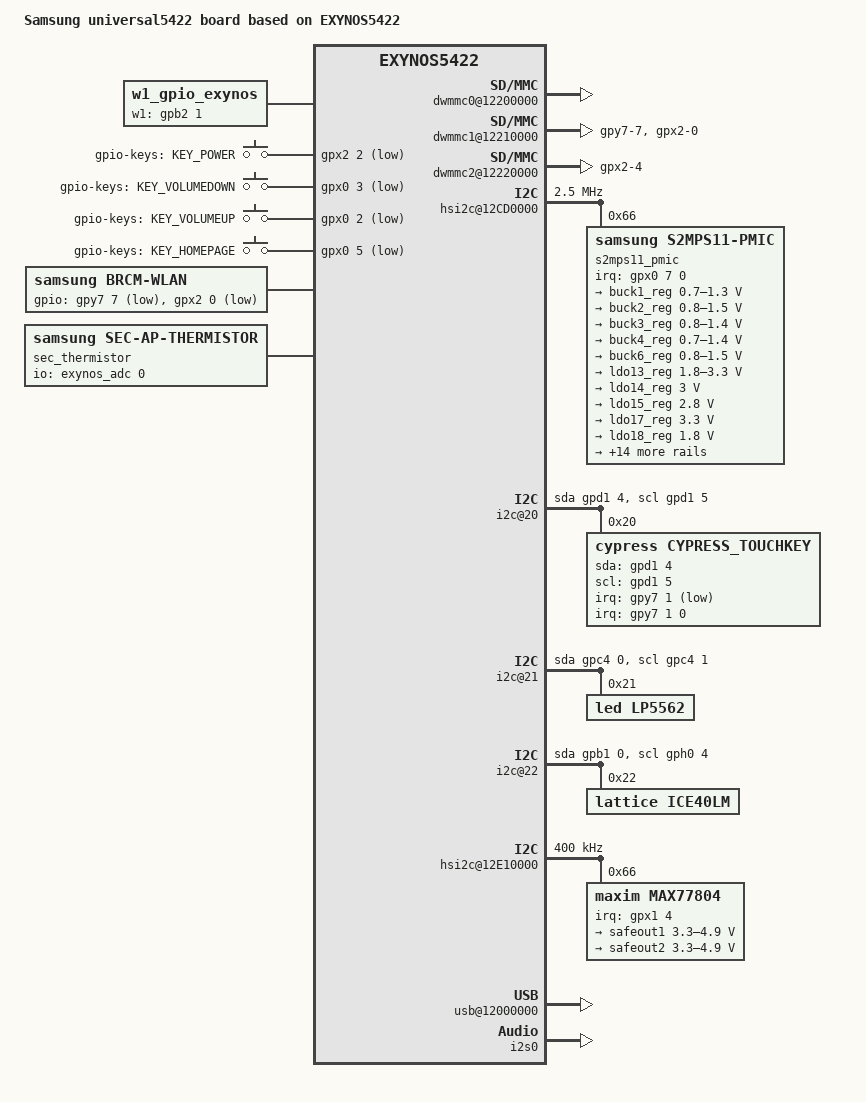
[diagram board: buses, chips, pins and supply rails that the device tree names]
/*
 * SAMSUNG universal5422 board device tree source
 *
 * Copyright (c) 2013 Samsung Electronics Co., Ltd.
 *             http://www.samsung.com
 *
 * This program is free software; you can redistribute it and/or modify
 * it under the terms of the GNU General Public License version 2 as
 * published by the Free Software Foundation.
*/

#include "exynos5422.dtsi"
#include "exynos5422-k_mhl2x.dtsi"

#define PIN_PULL_NONE		0
#define PIN_PULL_DOWN		1
#define PIN_PULL_UP		3

#define PIN_DRV_LV1		0
#define PIN_DRV_LV2		2
#define PIN_DRV_LV3		1
#define PIN_DRV_LV4		3

#define PIN_PDN_OUT0		0
#define PIN_PDN_OUT1		1
#define PIN_PDN_INPUT		2
#define PIN_PDN_PREV		3

#define PIN_IN(_pin, _pull, _drv)			\
	_pin {						\
		samsung,pins = #_pin;			\
		samsung,pin-function = <0>;		\
		samsung,pin-pud = <PIN_PULL_ ##_pull>;	\
		samsung,pin-drv = <PIN_DRV_ ##_drv>;	\
	}

#define PIN_OUT(_pin, _drv)				\
	_pin {						\
		samsung,pins = #_pin;			\
		samsung,pin-function = <1>;		\
		samsung,pin-pud = <0>;			\
		samsung,pin-drv = <PIN_DRV_ ##_drv>;	\
	}

#define PIN_OUT_SET(_pin, _val, _drv)			\
	_pin {						\
		samsung,pins = #_pin;			\
		samsung,pin-function = <1>;		\
		samsung,pin-pud = <0>;			\
		samsung,pin-drv = <PIN_DRV_ ##_drv>;	\
		samsung,pin-val	= <_val>;		\
	}

#define PIN_SLP(_pin, _mode, _pull)				\
	_pin {							\
		samsung,pins = #_pin;				\
		samsung,pin-con-pdn = <PIN_PDN_ ##_mode>;	\
		samsung,pin-pud-pdn = <PIN_PULL_ ##_pull>;	\
	}

/ {
	model = "Samsung universal5422 board based on EXYNOS5422";
	compatible = "samsung,universal5422", "samsung,exynos5422";

	chosen {
		bootargs = "console=ttySAC2,115200 vmalloc=512M noexec=on";
	};

	fixed-rate-clocks {
		oscclk {
			compatible = "samsung,exynos5422-oscclk";
			clock-frequency = <24000000>;
		};
	};

	rtc {
		status = "okay";
	};

	pinctrl@13410000 {
		pinctrl-names = "sleep";
		pinctrl-0 = <&sleep1>;
		sleep1: sleep-state {
				PIN_SLP(gpc0-0, PREV, NONE);	/* NAND_CLK */
				PIN_SLP(gpc0-1, PREV, NONE);	/* NAND_CMD */
				PIN_SLP(gpc0-2, PREV, NONE);	/* eMMC_EN */
				PIN_SLP(gpc0-3, PREV, NONE);	/* NAND_D(0) */
				PIN_SLP(gpc0-4, PREV, NONE);	/* NAND_D(1) */
				PIN_SLP(gpc0-5, PREV, NONE);	/* NAND_D(2) */
				PIN_SLP(gpc0-6, PREV, NONE);	/* NAND_D(3) */
				PIN_SLP(gpc0-7, PREV, NONE);	/* EMMC_RCLK */

				PIN_SLP(gpc1-0, OUT0, NONE);	/* WLAN_SDIO_CLK */
				PIN_SLP(gpc1-1, INPUT, NONE);	/* WLAN_SDIO_CMD */
				PIN_SLP(gpc1-2, INPUT, DOWN);	/* NC */
				PIN_SLP(gpc1-3, INPUT, NONE);	/* WLAN_SDIO_D(0) */
				PIN_SLP(gpc1-4, INPUT, NONE);	/* WLAN_SDIO_D(1) */
				PIN_SLP(gpc1-5, INPUT, NONE);	/* WLAN_SDIO_D(2) */
				PIN_SLP(gpc1-6, INPUT, NONE);	/* WLAN_SDIO_D(3) */
				PIN_SLP(gpc1-7, INPUT, DOWN);	/* NC */

				PIN_SLP(gpc2-0, INPUT, DOWN);	/* T_FLASH_CLK */
				PIN_SLP(gpc2-1, INPUT, DOWN);	/* T_FLASH_CMD */
				PIN_SLP(gpc2-2, INPUT, DOWN);	/* NC */
				PIN_SLP(gpc2-3, INPUT, DOWN);	/* T_FLASH_D(0) */
				PIN_SLP(gpc2-4, INPUT, DOWN);	/* T_FLASH_D(1) */
				PIN_SLP(gpc2-5, INPUT, DOWN);	/* T_FLASH_D(2) */
				PIN_SLP(gpc2-6, INPUT, DOWN);	/* T_FLASH_D(3) */

				PIN_SLP(gpc3-0, PREV, NONE);	/* NAND_D(4) */
				PIN_SLP(gpc3-1, PREV, NONE);	/* NAND_D(5) */
				PIN_SLP(gpc3-2, PREV, NONE);	/* NAND_D(6) */
				PIN_SLP(gpc3-3, PREV, NONE);	/* NAND_D(7) */

				PIN_SLP(gpc4-0, INPUT, NONE);	/* SVC_I2C_SDA */
				PIN_SLP(gpc4-1, INPUT, NONE);	/* SVC_I2C_SCL */

				PIN_SLP(gpd1-0, OUT0, NONE);	/* COMPANION_RSTN */
				PIN_SLP(gpd1-1, OUT0, NONE);	/* BTP_SLEEP/RST_N */
				PIN_SLP(gpd1-2, OUT0, NONE);	/* VT_CAM_1.2V_EN */
				PIN_SLP(gpd1-3, INPUT, DOWN);	/* OCTA_ID */
				PIN_SLP(gpd1-4, INPUT, DOWN);	/* TOUCH_I2C_SDA */
				PIN_SLP(gpd1-5, INPUT, DOWN);	/* TOUCH_I2C_SCL */
				PIN_SLP(gpd1-6, OUT0, NONE);	/* MAIN_CAM_A2.8V_EN */
				PIN_SLP(gpd1-7, INPUT, DOWN);	/* LCD_TE */

				PIN_SLP(gpy0-0, INPUT, DOWN);	/* NC */
				PIN_SLP(gpy0-1, INPUT, DOWN);	/* NC */
				PIN_SLP(gpy0-2, INPUT, DOWN);	/* NC */
				PIN_SLP(gpy0-3, INPUT, DOWN);	/* NC */
				PIN_SLP(gpy0-4, INPUT, DOWN);	/* NC */
				PIN_SLP(gpy0-5, INPUT, DOWN);	/* NC */

				PIN_SLP(gpy1-0, INPUT, DOWN);	/* NC */
				PIN_SLP(gpy1-1, INPUT, DOWN);	/* NC */
				PIN_SLP(gpy1-2, INPUT, DOWN);	/* NC */
				PIN_SLP(gpy1-3, INPUT, DOWN);	/* NC */

				PIN_SLP(gpy2-0, PREV, NONE);	/* TF_EN */
				PIN_SLP(gpy2-1, INPUT, DOWN);	/* NC */
				PIN_SLP(gpy2-2, INPUT, DOWN);	/* NC */
				PIN_SLP(gpy2-3, INPUT, DOWN);	/* NC */
				PIN_SLP(gpy2-4, INPUT, DOWN);	/* NC */
				PIN_SLP(gpy2-5, INPUT, DOWN);	/* NC */

				PIN_SLP(gpy3-0, PREV, NONE);	/* MMC01_EN */
				PIN_SLP(gpy3-1, PREV, NONE);	/* MMC2_EN */
				PIN_SLP(gpy3-2, OUT0, NONE);	/* MIPI_1.8V_EN */
				PIN_SLP(gpy3-3, PREV, NONE);	/* CODEC_POWER_EN */
				PIN_SLP(gpy3-4, INPUT, NONE);	/* SIM_SLOT */
				PIN_SLP(gpy3-5, INPUT, DOWN);	/* NC */
				PIN_SLP(gpy3-6, INPUT, DOWN);	/* NC */
				PIN_SLP(gpy3-7, INPUT, DOWN);	/* NC */

				PIN_SLP(gpy4-0, INPUT, DOWN);	/* NC */
				PIN_SLP(gpy4-1, INPUT, DOWN);	/* NC */
				PIN_SLP(gpy4-2, INPUT, DOWN);	/* NC */
				PIN_SLP(gpy4-3, INPUT, DOWN);	/* NC */
				PIN_SLP(gpy4-4, INPUT, DOWN);	/* NC */
				PIN_SLP(gpy4-5, INPUT, DOWN);	/* NC */
				PIN_SLP(gpy4-6, INPUT, DOWN);	/* NC */
				PIN_SLP(gpy4-7, INPUT, DOWN);	/* NC */

				PIN_SLP(gpy5-0, INPUT, DOWN);	/* NC */
				PIN_SLP(gpy5-1, INPUT, DOWN);	/* NC */
				PIN_SLP(gpy5-2, INPUT, DOWN);	/* NC */
				PIN_SLP(gpy5-3, INPUT, DOWN);	/* NC */
				PIN_SLP(gpy5-4, INPUT, DOWN);	/* NC */
				PIN_SLP(gpy5-5, INPUT, DOWN);	/* NC */
				PIN_SLP(gpy5-6, INPUT, DOWN);	/* NC */
				PIN_SLP(gpy5-7, INPUT, DOWN);	/* NC */

				PIN_SLP(gpy6-0, INPUT, DOWN);	/* NC */
				PIN_SLP(gpy6-1, INPUT, DOWN);	/* NC */
				PIN_SLP(gpy6-2, INPUT, DOWN);	/* NC */
				PIN_SLP(gpy6-3, INPUT, DOWN);	/* NC */
				PIN_SLP(gpy6-4, INPUT, DOWN);	/* NC */
				PIN_SLP(gpy6-5, INPUT, DOWN);	/* NC */
				PIN_SLP(gpy6-6, INPUT, DOWN);	/* NC */
				PIN_SLP(gpy6-7, INPUT, DOWN);	/* NC */
		};
	};

	pinctrl@14000000 {
		pinctrl-names = "sleep";
		pinctrl-0 = <&sleep2>;
		sleep2: sleep-state {
				PIN_SLP(gpe0-0, OUT0, NONE);	/* VT_CAM_STBY */
				PIN_SLP(gpe0-1, PREV, NONE);	/* FLASH_LED_EN */
				PIN_SLP(gpe0-2, PREV, NONE);	/* FLASH_LED_SET */
				PIN_SLP(gpe0-3, OUT0, NONE);	/* VT_CAM_NRST */
				PIN_SLP(gpe0-4, OUT0, NONE);	/* MAIN_CAM_RST */
				PIN_SLP(gpe0-5, OUT0, NONE);	/* COMP_EN */
				PIN_SLP(gpe0-6, INPUT, DOWN);	/* MAIN_CAM_SPI_CSN_GP */
				PIN_SLP(gpe0-7, INPUT, DOWN);	/* NC */

				PIN_SLP(gpe1-0, INPUT, DOWN);	/* COMP_SPI_INT */
				PIN_SLP(gpe1-1, INPUT, DOWN);	/* NC */

				PIN_SLP(gpf0-0, INPUT, DOWN);	/* MAIN_CAM_SDA */
				PIN_SLP(gpf0-1, INPUT, DOWN);	/* MAIN_CAM_SCL */
				PIN_SLP(gpf0-2, INPUT, DOWN);	/* AF_SDA */
				PIN_SLP(gpf0-3, INPUT, DOWN);	/* AF_SCL */
				PIN_SLP(gpf0-4, INPUT, DOWN);	/* VT_CAM_SDA */
				PIN_SLP(gpf0-5, INPUT, DOWN);	/* VT_CAM_SCL */

				PIN_SLP(gpf1-0, INPUT, DOWN);	/* MAIN_CAM_SPI_SCLK */
				PIN_SLP(gpf1-1, INPUT, DOWN);	/* MAIN_CAM_SPI_SSN */
				PIN_SLP(gpf1-2, INPUT, DOWN);	/* MAIN_CAM_SPI_MISO */
				PIN_SLP(gpf1-3, INPUT, DOWN);	/* MAIN_CAM_SPI_MOSI */
				PIN_SLP(gpf1-4, INPUT, DOWN);	/* NC */
				PIN_SLP(gpf1-5, INPUT, DOWN);	/* NC */
				PIN_SLP(gpf1-6, INPUT, DOWN);	/* NC */
				PIN_SLP(gpf1-7, INPUT, DOWN);	/* NC */

				PIN_SLP(gpg0-0, OUT1, NONE);	/* MCU_nRST_1.8V */
				PIN_SLP(gpg0-1, PREV, NONE);	/* CODEC_LDO_EN */
				PIN_SLP(gpg0-2, PREV, NONE);	/* CDONE */
				PIN_SLP(gpg0-3, INPUT, DOWN);	/* MHL_INT */
				PIN_SLP(gpg0-4, INPUT, DOWN);	/* COMP_BUCK_I2C_SCL */
				PIN_SLP(gpg0-5, INPUT, DOWN);	/* COMP_BUCK_I2C_SDA */
				PIN_SLP(gpg0-6, INPUT, DOWN);	/* PCD_INT */
				PIN_SLP(gpg0-7, PREV, DOWN);	/* BT_EN */

				PIN_SLP(gpg1-0, PREV, NONE);	/* IPC_SLAVE_WAKEUP */
				PIN_SLP(gpg1-1, PREV, UP);	/* NFC_FIRMWARE */
				PIN_SLP(gpg1-2, PREV, NONE);	/* NFC_EN */
				PIN_SLP(gpg1-3, OUT0, NONE);	/* SUSPEND_REQUEST_HSIC */
				PIN_SLP(gpg1-4, PREV, NONE);	/* CP_ON */
				PIN_SLP(gpg1-5, INPUT, DOWN);	/* TSP_ID */
				PIN_SLP(gpg1-6, PREV, NONE);	/* AP_DUMP_INT */
				PIN_SLP(gpg1-7, INPUT, DOWN);	/* ACTIVE_STATE_HSIC */

				PIN_SLP(gpg2-0, PREV, NONE);	/* CODEC_RESET_N */
				PIN_SLP(gpg2-1, PREV, NONE);	/* CORE_MODE */

				PIN_SLP(gpj4-0, INPUT, DOWN);	/* LCD_TE */
				PIN_SLP(gpj4-1, OUT1, NONE);	/* RESET_REQ_N */
				PIN_SLP(gpj4-2, OUT1, NONE);	/* CRESET_B */
				PIN_SLP(gpj4-3, OUT1, NONE);	/* MHL_RST */
		};
	};

	pinctrl@14010000 {
		pinctrl-names = "sleep";
		pinctrl-0 = <&sleep3>;
		sleep3: sleep-state {
				PIN_SLP(gpa0-0, INPUT, UP);	/* BT_UART_RXD */
				PIN_SLP(gpa0-1, OUT1, UP);	/* BT_UART_TXD */
				PIN_SLP(gpa0-2, INPUT, UP);	/* BT_UART_CTS */
				PIN_SLP(gpa0-3, OUT1, UP);	/* BT_UART_RTS */
				PIN_SLP(gpa0-4, INPUT, UP);	/* GPS_UART_RXD */
				PIN_SLP(gpa0-5, INPUT, UP);	/* GPS_UART_TXD */
				PIN_SLP(gpa0-6, INPUT, DOWN);	/* GPS_UART_CTS */
				PIN_SLP(gpa0-7, OUT1, NONE);	/* GPS_UART_RTS */

				PIN_SLP(gpa1-0, INPUT, DOWN);	/* AP_RXD */
				PIN_SLP(gpa1-1, INPUT, DOWN);	/* AP_TXD */
				PIN_SLP(gpa1-2, INPUT, NONE);	/* NFC_SDA_1.8V */
				PIN_SLP(gpa1-3, INPUT, NONE);	/* NFC_SCL_1.8V */
				PIN_SLP(gpa1-4, INPUT, NONE);	/* HEALTH_UART_RXD */
				PIN_SLP(gpa1-5, INPUT, NONE);	/* HEALTH_UART_TXD */

				PIN_SLP(gpa2-0, OUT0, NONE);	/* SHUB_SPI_SCK */
				PIN_SLP(gpa2-1, OUT0, NONE);	/* SHUB_SPI_SSN */
				PIN_SLP(gpa2-2, INPUT, DOWN);	/* SHUB_SPI_MISO */
				PIN_SLP(gpa2-3, OUT0, NONE);	/* SHUB_SPI_MOSI */
				PIN_SLP(gpa2-4, OUT0, NONE);	/* BTP_SPI_CLK */
				PIN_SLP(gpa2-5, OUT0, NONE);	/* BTP_SPI_CS_N */
				PIN_SLP(gpa2-6, INPUT, DOWN);	/* BTP_SPI_MISO */
				PIN_SLP(gpa2-7, OUT0, NONE);	/* BTP_SPI_MOSI */

				PIN_SLP(gpb0-0, PREV, NONE);	/* LCD_1P5_EN */
				PIN_SLP(gpb0-1, OUT0, NONE);	/* ERR_FG */
				PIN_SLP(gpb0-2, OUT0, NONE);	/* HEALTH_EN */
				PIN_SLP(gpb0-3, INPUT, NONE);	/* FUEL_SDA_1.8V */
				PIN_SLP(gpb0-4, INPUT, NONE);	/* FUEL_SCL_1.8V */

				PIN_SLP(gpb1-0, INPUT, NONE);	/* FPGA_SPI_SI */
				PIN_SLP(gpb1-1, OUT0, NONE);	/* CODEC_SPI_SCK */
				PIN_SLP(gpb1-2, OUT0, NONE);	/* CODEC_SPI_SSN */
				PIN_SLP(gpb1-3, INPUT, DOWN);	/* CODEC_SPI_MISO */
				PIN_SLP(gpb1-4, OUT0, NONE);	/* CODEC_SPI_MOSI */

				PIN_SLP(gpb2-0, OUT0, NONE);	/* VIBTONE_PWM */
				PIN_SLP(gpb2-1, INPUT, NONE);	/* COVER_ID */
				PIN_SLP(gpb2-2, INPUT, NONE);	/* AP_PMIC_SDA */
				PIN_SLP(gpb2-3, INPUT, NONE);	/* AP_PMIC_SCL */

				PIN_SLP(gpb3-0, INPUT, DOWN);	/* TS_I2C_SDA */
				PIN_SLP(gpb3-1, INPUT, DOWN);	/* TS_I2C_SCL */
				PIN_SLP(gpb3-2, INPUT, DOWN);	/* VT_CAM_SDA */
				PIN_SLP(gpb3-3, INPUT, DOWN);	/* VT_CAM_SCL */
				PIN_SLP(gpb3-4, INPUT, NONE);	/* MEM_LDO_SCL */
				PIN_SLP(gpb3-5, INPUT, NONE);	/* MEM_LDO_SDA */
				PIN_SLP(gpb3-6, INPUT, NONE);	/* IF_PMIC_SDA */
				PIN_SLP(gpb3-7, INPUT, NONE);	/* IF_PMIC_SCL */

				PIN_SLP(gpb4-0, INPUT, DOWN);	/* MHL_SDA_1.8V */
				PIN_SLP(gpb4-1, INPUT, DOWN);	/* MHL_SCL_1.8V */

				PIN_SLP(gph0-0, INPUT, NONE);	/* HW_REV0 */
				PIN_SLP(gph0-1, INPUT, NONE);	/* HW_REV1 */
				PIN_SLP(gph0-2, INPUT, NONE);	/* HW_REV2 */
				PIN_SLP(gph0-3, INPUT, NONE);	/* HW_REV3 */
				PIN_SLP(gph0-4, INPUT, NONE);	/* FPGA_SPI_CLK */
				PIN_SLP(gph0-5, OUT0, NONE);	/* MAIN_CAM_MCLK */
				PIN_SLP(gph0-6, OUT0, NONE);	/* 24MHZ_CLK_OUTPUT */
				PIN_SLP(gph0-7, OUT0, NONE);	/* VT_CAM_MCLK */
		};
	};

	dwmmc0@12200000 {
		status = "okay";
		num-slots = <1>;
		broken-cd;
		bypass-smu;
		fixed_volt;
		only_once_tune;
		supports-highspeed;
		supports-hs200-mode;
		sw_data_timeout;
		enable-no-sleep-cmd;
		fifo-depth = <0x40>;
		card-detect-delay = <200>;
		qos_int_level = <200000>;
		samsung,dw-mshc-ciu-div = <3>;
		samsung,dw-mshc-sdr-timing = <0 4 3>;
		samsung,dw-mshc-ddr-timing = <0 2 3>;
		samsung,dw-mshc-hs200-timing = <0 2 3>;
		samsung,dw-mshc-ddr200-timing = <0 2 1>;
		clk_pin = "gpc0-0";
		clk_addr = "13410000.pinctrl";
		clk_val = <0x3>;
		clk_str_num = <4>;
		num-ref-clks = <8>;
		ciu_clkin = <20812500 41625000 41625000 83250000 166500000 83250000 166500000 333000000>;
		pinctrl-names = "default";
		pinctrl-0 = <&sd0_clk &sd0_cmd &sd0_rdqs &sd0_bus1 &sd0_bus4 &sd0_bus8>;

		slot@0 {
			reg = <0>;
			bus-width = <8>;
		};
	};

	dwmmc1@12210000 {
		status = "okay";
		num-slots = <1>;
		channel = <1>;
		bypass-smu;
		ignore-phase = <(1 << 7)>;
		sw-timeout = <1000>;
		fixed_volt;
		supports-highspeed;
		sw_data_timeout;
		supports-sdr104-mode;
		keep-power-in-suspend;
		pm-ignore-notify;
		cd-type-external;
		cd-type = <2>;
		use-broken-voltage;
		fifo-depth = <0x40>;
		card-detect-delay = <200>;
		qos_int_level = <200000>;
		samsung,dw-mshc-ciu-div = <3>;
		samsung,dw-mshc-sdr-timing = <2 3 3>;
		samsung,dw-mshc-ddr-timing = <1 2 3>;
		clk_pin = "gpc1-0";
		clk_addr = "13410000.pinctrl";
		clk_val = <0x3>;
		clk_str_num = <4>;
		num-ref-clks = <8>;
		ciu_clkin = <20812500 41625000 41625000 83250000 166500000 83250000 166500000 333000000>;
		tp_mon_depth = <3>;
			     /* Byte/s,	 MIF clk, CPU clk, KFC clk*/
		tp_mon_table = <18000000 825000	1500000 1500000
				12000000 413000	0	0
				0	 0	0	0>;
		pinctrl-names = "default";
		//pinctrl-0 = <&sd1_clk &sd1_cmd &sd1_bus1 &sd1_bus4>;
		pinctrl-0 = <&sd1_clk &sd1_cmd &sd1_bus1 &sd1_bus4 &cfg_wlanen &cfg_wlanhostwake>; /* Set WLAN_EN configuration of power down mode */

		slot@0 {
			reg = <0>;
			bus-width = <4>;
		};
	};


	dwmmc2@12220000 {
		status = "okay";
		num-slots = <1>;
		supports-highspeed;
		sw_data_timeout;
		fifo-depth = <0x40>;
		card-detect-delay = <200>;
		qos_int_level = <200000>;
		samsung,dw-mshc-ciu-div = <3>;
		samsung,dw-mshc-sdr-timing = <2 3 3>;
		samsung,dw-mshc-ddr-timing = <1 2 3>;
		clk_pin = "gpc2-0";
		clk_addr = "13410000.pinctrl";
		clk_val = <0x3>;
		clk_str_num = <4>;
		num-ref-clks = <8>;
		ciu_clkin = <20812500 41625000 41625000 83250000 166500000 83250000 166500000 333000000>;
		pinctrl-names = "default";
		pinctrl-0 = <&sd2_clk &sd2_cmd &sd2_cd &sd2_bus1 &sd2_bus4 &dwmmc2_cd_irq>;

		gpio-controller;
		#gpio-cells = <2>;
		cd-gpio = <&gpx2 4 0xf>;

		slot@0 {
			reg = <0>;
			bus-width = <4>;
			disable-wp;
		};
	};

	serial@12C00000 {
		samsung,uart-wake-peer;
	};

	pinctrl@13400000 {
		pmic_irq: pmic-irq {
			samsung,pins = "gpx0-7";
			samsung,pin-pud = <3>;
			samsung,pin-drv = <3>;
		};

		hall_irq: hall-irq {
			samsung,pins = "gpx0-1";
			samsung,pin-function = <0xf>;
			samsung,pin-pud = <0>;
			samsung,pin-drv = <0>;
		};

		mfd_irq: mfd-irq {
			samsung,pins = "gpx1-4";
			samsung,pin-function = <0>;
			samsung,pin-pud = <0>;
			samsung,pin-drv = <0>;
		};

		fuel_irq: fuel-irq {
			samsung,pins = "gpx1-5";
			samsung,pin-function = <0>;
			samsung,pin-pud = <0>;
			samsung,pin-drv = <0>;
		};

		ssp_irq: ssp-irq {
			samsung,pins = "gpx3-0";
			samsung,pin-function = <0xf>;
			samsung,pin-pud = <3>;
			samsung,pin-drv = <3>;
		};
		ssp_irq2: ssp-irq2 {
			samsung,pins = "gpx3-3";
			samsung,pin-function = <0>;
			samsung,pin-pud = <3>;
			samsung,pin-drv = <3>;
		};
		ssp_ap_int: ssp-ap-int {
			samsung,pins = "gpx3-4";
			samsung,pin-function = <0>;
			samsung,pin-pud = <3>;
			samsung,pin-drv = <3>;
		};

		/* touchkey interrupt*/
		cfg_irq: cfg-irq {
			samsung,pins = "gpy7-1";
			samsung,pin-function = <0xf>;
			samsung,pin-pud = <0>;
			samsung,pin-drv = <0>;
		};
		cfg_input: cfg-input {
			samsung,pins = "gpy7-1";
			samsung,pin-function = <0>;
			samsung,pin-pud = <1>;
			samsung,pin-drv = <0>;
		};
		dwmmc2_cd_irq: dwmmc2-cd-irq {
			samsung,pins = "gpx2-4";
			samsung,pin-function = <0>;
			samsung,pin-pud = <3>;
			samsung,pin-drv = <3>;
		};
	};

	pinctrl@13410000 {
		/* touchkey i2c*/
		cfg_i2c: cfg-i2c {
			samsung,pins = "gpd1-5", "gpd1-4";
			samsung,pin-function = <3>;
			samsung,pin-pud = <0>;
			samsung,pin-drv = <0>;
		};
		cfg_gpio: cfg_gpio {
			samsung,pins = "gpd1-5", "gpd1-4";
			samsung,pin-function = <0>;
			samsung,pin-pud = <0>;
			samsung,pin-drv = <0>;
		};
		pm_wrsti: pm-wrsti {
			samsung,pins = "gpy3-0";
			samsung,pin-con-pdn = <3>;
		};
	};

	hsi2c@12CD0000 {
		samsung,hs-mode;
		clock-frequency = <2500000>;
		status = "okay";

		s2mps11_pmic@66 {
			compatible = "samsung,s2mps11-pmic";
			reg = <0x66>;
			interrupts = <7 0 0>;
			interrupt-parent = <&gpx0>;
			pinctrl-names = "default";
			pinctrl-0 = <&pmic_irq &pm_wrsti>;
			/* RTC: wtsr/smpl */
			wtsr_en = <1>; /* enable */
			smpl_en = <1>; /* enable */
			wtsr_timer_val = <3>;	/* 1000ms */
			smpl_timer_val = <0>;	/* 500ms */
			check_jigon = <0>; /* do not check jigon */
			/* RTC: If it's first boot, reset rtc to 1/1/2014 12:00:00(Wed) */
			init_time,sec = <0>;
			init_time,min = <0>;
			init_time,hour = <12>;
			init_time,mday = <1>;
			init_time,mon = <0>;
			init_time,year = <114>;
			init_time,wday = <3>;

			regulators {
				buck1_reg: BUCK1 {
					regulator-name = "vdd_mif";
					regulator-min-microvolt = <700000>;
					regulator-max-microvolt = <1300000>;
					regulator-always-on;
					regulator-boot-on;
					regulator-ramp-delay = <12000>;
					regulator-initial-mode = <1>;
				};

				buck2_reg: BUCK2 {
					regulator-name = "vdd_eagle";
					regulator-min-microvolt = <800000>;
					regulator-max-microvolt = <1500000>;
					regulator-always-on;
					regulator-boot-on;
					regulator-ramp-delay = <12000>;
					regulator-initial-mode = <1>;
				};

				buck3_reg: BUCK3 {
					regulator-name = "vdd_int";
					regulator-min-microvolt = <800000>;
					regulator-max-microvolt = <1400000>;
					regulator-always-on;
					regulator-boot-on;
					regulator-ramp-delay = <12000>;
					regulator-initial-mode = <1>;
				};

				buck4_reg: BUCK4 {
					regulator-name = "vdd_g3d";
					regulator-min-microvolt = <700000>;
					regulator-max-microvolt = <1400000>;
					regulator-always-on;
					regulator-boot-on;
					regulator-ramp-delay = <12000>;
					regulator-initial-mode = <1>;
				};

				buck6_reg: BUCK6 {
					regulator-name = "vdd_kfc";
					regulator-min-microvolt = <800000>;
					regulator-max-microvolt = <1500000>;
					regulator-always-on;
					regulator-boot-on;
					regulator-ramp-delay = <12000>;
					regulator-initial-mode = <1>;
				};

				ldo13_reg: LDO13 {
					regulator-name = "vqmmc";
					regulator-min-microvolt = <1800000>;
					regulator-max-microvolt = <3300000>;
					regulator-boot-on;
					regulator-ramp-delay = <12000>;
					regulator-initial-mode = <1>;
				};

				ldo14_reg: LDO14 {
					regulator-name = "vcc_3.0v_motor";
					regulator-min-microvolt = <3000000>;
					regulator-max-microvolt = <3000000>;
					regulator-initial-mode = <3>;
				};

				ldo15_reg: LDO15 {
					regulator-name = "vt_cam_2_8v";
					regulator-min-microvolt = <2800000>;
					regulator-max-microvolt = <2800000>;
					/* regulator-always-on; */
					regulator-initial-mode = <3>;
				};

				ldo17_reg: LDO17 {
					regulator-name = "tsp_avdd";
					regulator-min-microvolt = <3300000>;
					regulator-max-microvolt = <3300000>;
				};

				ldo18_reg: LDO18 {
					regulator-name = "vdd_ldo18";
					regulator-min-microvolt = <1800000>;
					regulator-max-microvolt = <1800000>;
					regulator-always-on;
					regulator-initial-mode = <3>;
				};

				ldo19_reg: LDO19 {
					regulator-name = "vmmc";
					regulator-min-microvolt = <1800000>;
					regulator-max-microvolt = <2850000>;
					regulator-boot-on;
					regulator-initial-mode = <1>;
				};

				ldo20_reg: LDO20 {
					regulator-name = "vt_cam_1_8v";
					regulator-min-microvolt = <1800000>;
					regulator-max-microvolt = <1800000>;
					regulator-initial-mode = <3>;
				};

				ldo21_reg: LDO21 {
					regulator-name = "vdd_ldo21";
					regulator-min-microvolt = <1800000>;
					regulator-max-microvolt = <1800000>;
					regulator-initial-mode = <3>;
				};

				ldo22_reg: LDO22 {
					regulator-name = "vdd_ldo22";
					regulator-min-microvolt = <1200000>;
					regulator-max-microvolt = <1200000>;
					regulator-initial-mode = <3>;
				};

				ldo25_reg: LDO25 {
					regulator-name = "vdd_ldo25";
					regulator-min-microvolt = <1800000>;
					regulator-max-microvolt = <1800000>;
					regulator-boot-on;
					regulator-initial-mode = <3>;
				};

				ldo27_reg: LDO27 {
					regulator-name = "vdd_ldo27";
					regulator-min-microvolt = <800000>;
					regulator-max-microvolt = <1100000>;
					regulator-always-on;
					regulator-initial-mode = <1>;
				};

				ldo28_reg: LDO28 {
					regulator-name = "vdd_ldo28";
					regulator-min-microvolt = <3000000>;
					regulator-max-microvolt = <3000000>;
					regulator-boot-on;
					regulator-initial-mode = <3>;
				};

				ldo30_reg: LDO30 {
					regulator-name = "vtouch_1.8v";
					regulator-min-microvolt = <1800000>;
					regulator-max-microvolt = <1800000>;
				};

				ldo31_reg: LDO31 {
					regulator-name = "vdd_ldo31";
					regulator-min-microvolt = <1800000>;
					regulator-max-microvolt = <1800000>;
					regulator-initial-mode = <3>;
				};


				ldo32_reg: LDO32 {
					regulator-name = "tsp_io";
					regulator-min-microvolt = <1800000>;
					regulator-max-microvolt = <1800000>;
				};

				ldo33_reg: LDO33 {
					regulator-name = "VCC_1.8V_MHL";
					regulator-min-microvolt = <1800000>;
					regulator-max-microvolt = <1800000>;
				};

				ldo34_reg: LDO34 {
					regulator-name = "VCC_3.3V_MHL";
					regulator-min-microvolt = <3300000>;
					regulator-max-microvolt = <3300000>;
				};

				ldo35_reg: LDO35 {
					regulator-name = "VSIL_1.2A";
					regulator-min-microvolt = <1200000>;
					regulator-max-microvolt = <1200000>;
				};

				ldo38_reg: LDO38 {
					regulator-name = "vtouch_3.3v";
					regulator-min-microvolt = <3300000>;
					regulator-max-microvolt = <3300000>;
				};
			};
		};
	};

	i2c@20{
		compatible = "i2c-gpio";
		gpios = <&gpd1 4 0 /* sda */
				&gpd1 5 0 /* scl */
				>;
		i2c-gpio,delay-us = <2>;
		#address-cells = <1>;
		#size-cells = <0>;
		status = "okay";

		cypress@20 {
			compatible = "cypress,cypress_touchkey";
			pinctrl-names = "on_irq","off_irq","on_i2c","off_i2c";
			pinctrl-0 = <&cfg_irq>;
			pinctrl-1 = <&cfg_input>;
			pinctrl-2 = <&cfg_i2c>;
			pinctrl-3 = <&cfg_gpio>;
			reg = <0x20>;
			interrupts = <1 0 0>;
			interrupt-parent = <&gpy7>;
			cypress,sda-gpio = <&gpd1 4 0>;
			cypress,scl-gpio = <&gpd1 5 0>;
			cypress,irq-gpio = <&gpy7 1 1>;
			cypress,i2c-gpio = "true";
			cypress,ic-stabilizing-time = <50>;
			cypress,multi-touchkey-fw-version = <0x1c>;
		};
	};

	i2c@21 {
		compatible = "i2c-gpio";
		gpios = <&gpc4 0 0 /* sda */
			&gpc4 1 0 /* scl */
			>;
		i2c-gpio,delay-us = <2>;
		#address-cells = <1>;
		#size-cells = <0>;
		status = "okay";
		lp5562@21 {
			compatible = "led,lp5562";
			reg = <0x21>;
		/* config data basic info */
			config_data_num = <3>;
			config_arr_size = <3>;
		/* pattern data basic info*/
			pattern_data_num = <7>;
			pattern_arr_size = <6>;
		/* config data info start */
			configset0 {
				c_name = "led_r";
				chan_nr = <0>;
				led_current = <40>;
				max_current = <40>;
			};
			configset1 {
				c_name = "led_g";
				chan_nr = <1>;
				led_current = <40>;
				max_current = <40>;
			};
			configset2 {
				c_name = "led_b";
				chan_nr = <2>;
				led_current = <40>;
				max_current = <40>;
			};
		/* pattern data info start */
		/* mode_charging */
			dataset0 {
				num = <0>;
				type = "r";
				size = <2>;
				data = /bits/ 8 <0x40 0xFF>;
			};
		/* mode_charging_err */
			dataset1 {
				num = <1>;
				type = "r";
				size = <8>;
				data = /bits/ 8 <0x40 0x00 0x60 0x00
						0x40 0xFF 0x60 0x00>;
			};
		/* mode_missed_noti */
			dataset2 {
				num = <2>;
				type = "b";
				size = <10>;
				data = /bits/ 8 <0x40 0x00 0x60 0x00
						0xA4 0xA1 0x40 0xFF
						0x60 0x00>;
			};
		/* mode_low_batt */
			dataset3 {
				num = <3>;
				type = "r";
				size = <10>;
				data = /bits/ 8 <0x40 0x00 0x60 0x00
						0xA4 0xA1 0x40 0xFF
						0x60 0x00>;
			};
		/* mode_full_chg */
			dataset4 {
				num = <4>;
				type = "g";
				size = <2>;
				data = /bits/ 8 <0x40 0xFF>;
			};
		/* mode_powering_green */
			dataset5 {
				num = <5>;
				type = "g";
				size = <18>;
				data = /bits/ 8 <0x40 0x11 0x0B 0x7A
						0x40 0x8C 0x55 0x00
						0xE0 0x08 0x0B 0xFA
						0x40 0x11 0x55 0x00
						0xE0 0x08>;
			};
		/* mode_powering_blue */
			dataset6 {
				num = <5>;
				type = "b";
				size = <18>;
				data = /bits/ 8 <0x40 0xCC 0x1B 0x32
						0x40 0xFF 0x55 0x00
						0xE1 0x00 0x1B 0xB2
						0x40 0xCC 0x55 0x00
						0xE1 0x00>;
			};
		};
	};

	i2c@22 {
		compatible = "i2c-gpio";
		gpios = <&gpb1 0 0 /* sda */
			&gph0 4 0 /* scl */
			>;
		i2c-gpio,delay-us = <2>;
		#address-cells = <1>;
		#size-cells = <0>;
		status = "okay";
		ice40lm@22 {
			compatible = "lattice,ice40lm";
			reg = <0x22>;
			ice40lm,creset_b = <&gpj4 2 0>;
			ice40lm,cdone = <&gpg0 2 0>;
			ice40lm,irda_irq = <&gpx0 4 0>;
			ice40lm,spi_si_sda = <&gpb1 0 0>;
			ice40lm,spi_clk_scl = <&gph0 4 0>;
			ice40lm,spi_en_rstn = <&gpy7 0 0>;
		};
	};

	pinctrl@14010000 {
		vibetonz_pwm: vibetonz_pwm {
			samsung,pins = "gpb2-0";
			samsung,pin-function = <2>;
			samsung,pin-pud = <0>;
			samsung,pin-drv = <0>;
		};
	};

	hsi2c@12E10000 {
		samsung,hs-mode;
		clock-frequency = <400000>;
		status = "okay";

		max77804@66 {
			compatible = "maxim,max77804";
			reg = <0x66>;
			pinctrl-names = "default";
			pinctrl-0 = <&mfd_irq &vibetonz_pwm>;
			max77804,irq-gpio = <&gpx1 4 0>;
			max77804,wc-irq-gpio = <0>;
			max77804,wakeup;

			regulators {
				safeout1: ESAFEOUT1 {
					regulator-compatible = "safeout1";
					regulator-name = "safeout1_range";
					regulator-min-microvolt = <3300000>;
					regulator-max-microvolt = <4900000>;
					regulator-boot-on;
				};

				safeout2: ESAFEOUT2 {
					regulator-compatible = "safeout2";
					regulator-name = "safeout2_range";
					regulator-min-microvolt = <3300000>;
					regulator-max-microvolt = <4900000>;
				};
			};
		};
	};

	pinctrl@14000000 {
		disp_pcd: disp_pcd {
			samsung,pins = "gpg0-6";
			samsung,pin-function = <0>;
			samsung,pin-pud = <1>;
		};
	};

	pinctrl@14010000 {
		disp_errfg: disp_errfg {
			samsung,pins = "gpb0-1";
			samsung,pin-function = <0>;
			samsung,pin-pud = <1>;
		};
	};

/*disp_driver {*/
	fimd_fb: fimd_fb {
		LCD18V-supply = <&ldo25_reg>;
		LCD30V-supply = <&ldo28_reg>;
		oled-id-gpio = <&gpd1 3 0x0>;
		oled-pcd-gpio = <&gpg0 6 0x0>;
		oled-errfg-gpio = <&gpb0 1 0x0>;
		lcd_info = <&s6e3fa2>;
		gpios = <&gpd1 7 0xf>;

		pinctrl-names = "default", "turnon_tes", "turnoff_tes";
		pinctrl-0 = <&disp_pcd &disp_errfg>;
		pinctrl-1 = <&disp_teson>;
		pinctrl-2 = <&disp_tesoff>;

		fimd: fimd_ctrl {
			samsung,left_margin = <130>;
			samsung,right_margin = <130>;
			samsung,upper_margin = <4>;
			samsung,lower_margin = <42>;
			samsung,hsync_len = <20>;
			samsung,vsync_len = <16>;
			samsung,xres = <1080>;
			samsung,yres = <1920>;
			samsung,virtual_x = <1080>;
			samsung,virtual_y = <3840>;
			samsung,width = <65>;
			samsung,height = <115>;
			samsung,max_bpp = <32>;
			samsung,default_bpp = <24>;

			fb_driver_data {
				fb_win_variant_0 {
					has_osd_c = <1>;
					has_osd_d = <0>;
					has_osd_alpha = <0>;
					osd_size_off = <0x08>;
					palette_size = <256>;
					VALID_BPP_1248 = <1>;
					VALID_BPP_13 = <1>;
					VALID_BPP_15 = <1>;
					VALID_BPP_16 = <1>;
					VALID_BPP_18 = <1>;
					VALID_BPP_19 = <1>;
					VALID_BPP_24 = <1>;
					VALID_BPP_25 = <1>;
					VALID_BPP_32 = <1>;
				};
				fb_win_variant_1 {
					has_osd_c = <1>;
					has_osd_d = <1>;
					has_osd_alpha = <1>;
					osd_size_off = <0x0c>;
					palette_size = <256>;
					VALID_BPP_1248 = <1>;
					VALID_BPP_13 = <1>;
					VALID_BPP_15 = <1>;
					VALID_BPP_16 = <1>;
					VALID_BPP_18 = <1>;
					VALID_BPP_19 = <1>;
					VALID_BPP_24 = <1>;
					VALID_BPP_25 = <1>;
					VALID_BPP_32 = <1>;
				};
				fb_win_variant_2 {
					has_osd_c = <1>;
					has_osd_d = <1>;
					has_osd_alpha = <1>;
					osd_size_off = <0x0c>;
					palette_size = <256>;
					VALID_BPP_1248 = <1>;
					VALID_BPP_13 = <1>;
					VALID_BPP_15 = <1>;
					VALID_BPP_16 = <1>;
					VALID_BPP_18 = <1>;
					VALID_BPP_19 = <1>;
					VALID_BPP_24 = <1>;
					VALID_BPP_25 = <1>;
					VALID_BPP_32 = <1>;
				};
				fb_win_variant_3 {
					has_osd_c = <1>;
					has_osd_d = <0>;
					has_osd_alpha = <1>;
					osd_size_off = <0x0>;
					palette_size = <256>;
					VALID_BPP_1248 = <1>;
					VALID_BPP_13 = <1>;
					VALID_BPP_15 = <1>;
					VALID_BPP_16 = <1>;
					VALID_BPP_18 = <1>;
					VALID_BPP_19 = <1>;
					VALID_BPP_24 = <1>;
					VALID_BPP_25 = <1>;
					VALID_BPP_32 = <1>;
				};
				fb_win_variant_4 {
					has_osd_c = <1>;
					has_osd_d = <0>;
					has_osd_alpha = <1>;
					osd_size_off = <0x0>;
					palette_size = <256>;
					VALID_BPP_1248 = <1>;
					VALID_BPP_13 = <1>;
					VALID_BPP_15 = <1>;
					VALID_BPP_16 = <1>;
					VALID_BPP_18 = <1>;
					VALID_BPP_19 = <1>;
					VALID_BPP_24 = <1>;
					VALID_BPP_25 = <1>;
					VALID_BPP_32 = <1>;
				};
			};
		};
		mipi_dsi: mipi_dsi {
			gpios = <&gpy7 4 0x1>, <&gpy3 2 0x1>, <&gpb0 0 0x1>;

			interrupt-parent = <&gic>;
			interrupts = <0 82 0>;
			/* Interface definition: 0 - DSIM_COMMAND,
						 1 - DSIM_VIDEO */
			e_interface = <0>;

			/* Pixel format : 0 - DSIM_CMD_3BPP,
					  1 - DSIM_CMD_8BPP,
					  2 - DSIM_CMD_12BPP,
					  3 - DSIM_CMD_16BPP,
					  4 - DSIM_VID_16BPP_565,
					  5 - DSIM_VID_18BPP_666PACKED,
					  6 - DSIM_18BPP_666LOOSELYPACKED,
					  7 - DSIM_24BPP_888 */
			e_pixel_format = <7>;

			/* main frame fifo auto flush at VSYNC pulse */
			auto_flush = <0>;
			eot_disable = <1>;
			auto_vertical_cnt = <0>;
			hse = <0>;
			hfp = <0>;
			hbp = <0>;
			hsa = <0>;

			/* num of data lane : 0 - DSIM_DATA_LANE_1,
					      1 - DSIM_DATA_LANE_2,
					      2 - DSIM_DATA_LANE_3,
					      3 - DSIM_DATA_LANE_4 */
			e_no_data_lane = <3>;
			/* byte clock divider : 0 - DSIM_PLL_OUT_DIV8,
						1 - DSIM_EXT_CLK_DIV8,
						2 - DSIM_EXT_CLK_BYPASS */
			e_byte_clk = <0>;
			/* Burst mode : 0 - DSIM_NON_BURST_SYNC_EVENT,
					2 - DSIM_NON_BURST_SYNC_PULSE,
					1 - DSIM_BURST
					4 - DSIM_NON_VIDEO_MODE */
			e_burst_mode = <1>;
			/* PMS
			   - 1. LCD_S6E8AA0 : p - 4, m - 80, s - 1
			   - 2. LCD_S6E3FA0(COMMAND): p - 2, m - 46, s - 0
			   - 3. LCD_S6E3FA0(VIDEO): p - 4, m - 75, s - 0
			   - 4. LCD_S6E3HA0(COMMAND): p - 2, m - 46, s - 0 */
			p = <2>;
			m = <46>;
			s = <0>;
			/* D-PHY PLL stable time spec :min = 200usec ~ max 400usec */
			pll_stable_time = <23000>;
			/* escape clk : 16MHz */
			esc_clk = <16000000>;
			/* stop state holding counter after bta change count 0 ~ 0xfff */
			stop_holding_cnt = <10>;
			/* bta timeout 0 ~ 0xff */
			bta_timeout = <0xff>;
			/* lp rx timeout 0 ~ 0xffff */
			rx_timeout = <0xffff>;
		};
		s6e3fa2: s6e3fa2_fhd {
			mode = <0>;
			resolution = <1080 1920>;
			size = <65 115>;
			timing,refresh = <60>;
			timing,h-porch = <1 10 1>;
			timing,v-porch = <1 1 1>;
			timing,dsi-hs-clk = <896>;
			timing,dsi-escape-clk = <19>;
		};
	};

	muic {
		status = "disabled";
		muic,support-list = "MHL","OTG","Jig USB On","Jig UART Off",
				    "Jig UART Off + VB","TA","USB","CDP",
				    "Deskdock","Deskdock + VB",
				    "Smartdock","Smartdock + VB","Smartdock + TA","Smartdock + USB";
	};

	hall {
		status = "okay";
		compatible = "hall";
		pinctrl-names = "default";
		pinctrl-0 = <&hall_irq>;
		hall,gpio_flip_cover = <&gpx0 1 0>;
	};

	haptic {
		status = "okay";
		haptic,max_timeout = <10000>;
		haptic,duty = <34500>;
		haptic,period = <38240>;
		haptic,reg2 = <0x82>;
		haptic,pwm_id = <0>;
		haptic,regulator_name = "vcc_3.0v_motor";
	};

	torch {
		status = "okay";
		leds1 {
			ledname = "leds-sec1";
		/* MAX77804_FLASH_LED_1 */
			id = <0>;
		/* MAX77804_FLASH_TIME_187P5MS */
			timer = <2>;
		/* MAX77804_TIMER_MODE_MAX_TIMER */
			timer_mode = <1>;
		/* MAX77804_LED_CTRL_BY_FLASHSTB */
			cntrl_mode = <0>;
			brightness = <0x3D>;
		};
		leds2 {
			ledname = "torch-sec1";
		/* MAX77804_TORCH_LED_1 */
			id = <1>;
		/* MAX77804_LED_CTRL_BY_FLASHSTB */
			cntrl_mode = <0>;
			brightness = <0x06>;
		};
	};

	w1_gpio_exynos {
		status = "okay";
		compatible = "w1_gpio_exynos";
		is_open_drain = <1>;
		slave_speed = <1>;
		w1,gpio = <&gpb2 1 0>;
	};

	gpio_keys {
		compatible = "gpio-keys";
		#address-cells = <1>;
		#size-cells = <0>;
		poll-interval = <100>;
		button@1 {
			label = "gpio-keys: KEY_POWER";
			interrupts = <2 0 0>;
			interrupt-parent = <&gpx2>;
			linux,code = <116>;
			gpios = <&gpx2 2 0xf>;
			gpio-key,wakeup = <1>;
		};
		button@2 {
			label = "gpio-keys: KEY_VOLUMEDOWN";
			interrupts = <3 0 0>;
			interrupt-parent = <&gpx0>;
			linux,code = <114>;
			gpios = <&gpx0 3 0xf>;
		};
		button@3 {
			label = "gpio-keys: KEY_VOLUMEUP";
			interrupts = <2 0 0>;
			interrupt-parent = <&gpx0>;
			linux,code = <115>;
			gpios = <&gpx0 2 0xf>;
		};
		button@4 {
			label = "gpio-keys: KEY_HOMEPAGE";
			interrupts = <5 0 0>;
			interrupt-parent = <&gpx0>;
			linux,code = <172>;
			gpios = <&gpx0 5 0xf>;
			gpio-key,wakeup = <1>;
		};
	};

	sec_input_debug-keys {
		compatible = "sec_input_debug-keys";

		button@1 {
			label = "debug-keys: KEY_POWER";
			linux,code = <116>;
		};
		button@2 {
			label = "debug-keys: KEY_VOLUMEDOWN";
			linux,code = <114>;
			state = "true";
		};
		button@3 {
			label = "debug-keys: KEY_VOLUMEUP";
			linux,code = <115>;
		};
	};

	pinctrl@13400000 {
		cfg_wlanen: cfg-wlanen {
			samsung,pins = "gpy7-7";
			samsung,pin-function = <1>;
			samsung,pin-pud = <0>;
			samsung,pin-drv = <3>;
			samsung,pin-con-pdn = <3>;
			samsung,pin-pud-pdn = <0>;
		};

		cfg_wlanhostwake: cfg-wlanhostwake {
			samsung,pins = "gpx2-0";
			samsung,pin-function = <0>;
			samsung,pin-pud = <1>;
			samsung,pin-con-pdn = <2>;
			samsung,pin-pud-pdn = <0>;
		};
	};

	wlan {
		compatible = "samsung,brcm-wlan";
		gpios = <&gpy7 7 0x1 /* WLAN_EN */
				&gpx2 0 0xF	/* WLAN_HOST_WAKE */
				>;
		pinctrl-names = "default";
		pinctrl-0=<&cfg_wlanen &cfg_wlanhostwake>;
		status = "okay";
	};

	usb@12000000 {
		status = "okay";

		dwc3 {
			maximum-speed = "super-speed";
			dr_mode = "otg";
		};
	};

	usb_notifier {
		compatible = "samsung,usb-notifier";
	};

	i2s0: i2s@03830000 {
		status = "okay";
	};

	i2s_dummy: dummy-i2s {
		compatible = "samsung,dummy-i2s";
		status = "okay";
	};

	sound {
		compatible = "samsung,pacific-arizona";
		samsung,audio-cpu = <&i2s0		/* primary */
				     &i2s_dummy
				     &i2s_dummy
				     &i2s0>;		/* secondary */
		samsung,audio-codec = <&audio_codec
				       &audio_codec
				       &audio_codec
				       &audio_codec>;
		status = "okay";
	};

	fimc_is@13000000 {
		gpios_main_reset = <&gpe0 4 0x1>; /* MAINCAM_RESET */
		gpios_vt_stby = <&gpe0 0 0x1>; /*VT_CAM_STBY */
		gpios_vt_reset = <&gpe0 3 0x1>; /* VT_CAM_RESET */
		gpios_vt_en = <&gpd1 2 0x1>; /* VT_CAM_1_2_EN*/
	};

	pinctrl@14000000 {
		fimc_is_flash: fimc-is-flash {
			samsung,pins = "gpf1-0", "gpf1-1";
			samsung,pin-function = <3>;
			samsung,pin-pud = <0>;
			samsung,pin-drv = <0>;
		};
	};

	sec_thermistor {
		compatible = "samsung,sec-ap-thermistor";
		status = "okay";
		/* HA data */
		adc_array = <181 261 361 489 659 718 759 824 869 914 982 1030 1099 1145 1215 1263 1333 1377 1439 1483 1518 1537 1557 1593 1628 1678 1704 1745 1770 1805 1827>;
		temp_array = <800 700 600 500 400 370 350 320 300 280 250 230 200 180 150 130 100 80 50 30 10 0 (-10) (-30) (-50) (-80) (-100) (-130) (-150) (-180) (-200)>;

		io-channels = <&exynos_adc 0>;
		io-channel-names = "adc-ap-temp";
		io-channel-ranges;
	};

	secgpio_dvs {
		compatible = "samsung,exynos5422-secgpio-dvs";
		status = "okay";
	};

	ion {
		compatible = "samsung,exynos5430-ion";

		contig-names = "common",
			       "mfc_sh",
			       "g2d_wfd",
			       "video",
			       "mfc_input",
			       "sectbl",
			       "mfc_fw",
			       "mfc_nfw";

		contig = <0 0x6650000 0x0>,
		         <2 0x400000 0x0>,
		         <10 0x800000 0x0>,
		         <11 0x6000000 0x0>,
		         <7 0x1000000 0x0>,
		         <9 0x400000 0x0>,
		         <8 0x400000 0x0>,
		         <12 0x400000 0x0>;

		ion_noncontig_heap {
			id-type = <0 0>;
		};

		exynos_contig_heap {
			id-type = <4 6>;
		};
	};

	ipa_pdata {
		compatible = "samsung,exynos-ipa";

		control_temp = <81>;
		temp_threshold = <30>;
		enabled = <1>;
		tdp = <3500>;
		boost = <1>;
		ros_power = <500>;
		a7_weight = <1024>;
		a15_weight = <256>;
		gpu_weight = <1024>;
		a7_max_power = <1000>;
		a15_max_power = <6552>;
		gpu_max_power = <3110>;
		hotplug_out_threshold = <10>;
		hotplug_in_threshold = <2>;
		enable_ctlr = <1>;
		ctlr.mult = <2>;
		ctlr.k_i = <1>;
		ctlr.k_d = <0>;
		ctlr.feed_forward = <1>;
		ctlr.integral_reset_value = <0>;
		ctlr.integral_cutoff = <0>;
		ctlr.integral_reset_threshold = <10>;
	};
};
